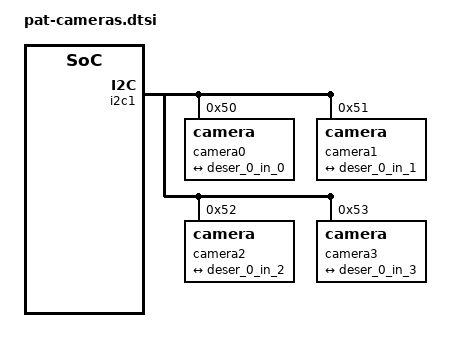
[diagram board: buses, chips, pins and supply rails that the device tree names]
/*
   default camera config for pat
   ar0231-yuv*4     1920x1080   video0~3
   ahd-yuv*4        1280x720    video4~7
   ahd-yuv*4        1920x1080   video8~11
*/

&i2c1 {
    camera0: camera@50 {
        reg = <0x50>;
        ser-alias-id = <0x40>;
        sensor-alias-id = <0x50>;

        #include "../cameras/ox3c_raw_1920x1080.dtsi"

        port {
            camera_0_out: endpoint@0 {
                remote-endpoint = <&deser_0_in_0>;
            };
        };
    };

    camera1: camera@51 {
        reg = <0x51>;
        ser-alias-id = <0x41>;
        sensor-alias-id = <0x51>;

        #include "../cameras/ox3c_raw_1920x1080.dtsi"

        port {
            camera_1_out: endpoint@0 {
                remote-endpoint = <&deser_0_in_1>;
            };
        };
    };

    camera2: camera@52 {
        reg = <0x52>;
        ser-alias-id = <0x42>;
        sensor-alias-id = <0x52>;

        #include "../cameras/ox3c_raw_1920x1080.dtsi"

        port {
            camera_2_out: endpoint@0 {
                remote-endpoint = <&deser_0_in_2>;
            };
        };
    };

    camera3: camera@53 {
        reg = <0x53>;
        ser-alias-id = <0x43>;
        sensor-alias-id = <0x53>;

        #include "../cameras/ox3c_raw_1920x1080.dtsi"

        port {
            camera_3_out: endpoint@0 {
                remote-endpoint = <&deser_0_in_3>;
            };
        };
    };

};
